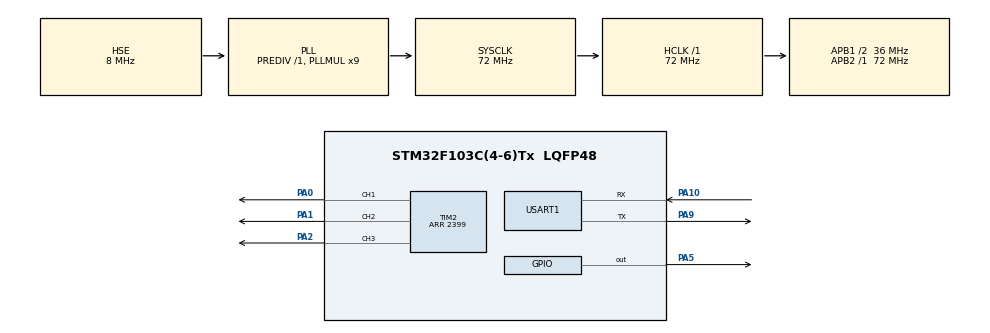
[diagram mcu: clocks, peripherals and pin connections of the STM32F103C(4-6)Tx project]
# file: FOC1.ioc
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Mcu.Family=STM32F1
Mcu.Name=STM32F103C(4-6)Tx
Mcu.Package=LQFP48
NVIC.PriorityGroup=NVIC_PRIORITYGROUP_4
PA0-WKUP.Signal=S_TIM2_CH1_ETR
PA1.Signal=S_TIM2_CH2
PA10.Mode=Asynchronous
PA10.Signal=USART1_RX
PA2.Signal=S_TIM2_CH3
PA5.PinState=GPIO_PIN_SET
PA5.Signal=GPIO_Output
PA9.Mode=Asynchronous
PA9.Signal=USART1_TX
PD0-OSC_IN.Mode=HSE-External-Oscillator
PD0-OSC_IN.Signal=RCC_OSC_IN
PD1-OSC_OUT.Mode=HSE-External-Oscillator
PD1-OSC_OUT.Signal=RCC_OSC_OUT
ProjectManager.HeapSize=0x200
ProjectManager.StackSize=0x400
ProjectManager.TargetToolchain=MDK-ARM V5
RCC.AHBFreq_Value=72000000
RCC.APB1CLKDivider=RCC_HCLK_DIV2
RCC.APB1Freq_Value=36000000
RCC.APB1TimFreq_Value=72000000
RCC.APB2Freq_Value=72000000
RCC.APB2TimFreq_Value=72000000
RCC.HCLKFreq_Value=72000000
RCC.PLLMUL=RCC_PLL_MUL9
RCC.PLLSourceVirtual=RCC_PLLSOURCE_HSE
RCC.SYSCLKFreq_VALUE=72000000
RCC.SYSCLKSource=RCC_SYSCLKSOURCE_PLLCLK
RCC.USBFreq_Value=72000000
SH.S_TIM2_CH1_ETR.0=TIM2_CH1,PWM Generation1 CH1
SH.S_TIM2_CH2.0=TIM2_CH2,PWM Generation2 CH2
SH.S_TIM2_CH3.0=TIM2_CH3,PWM Generation3 CH3
TIM2.Channel-PWM\ Generation1\ CH1=TIM_CHANNEL_1
TIM2.Channel-PWM\ Generation2\ CH2=TIM_CHANNEL_2
TIM2.Channel-PWM\ Generation3\ CH3=TIM_CHANNEL_3
TIM2.Period=2399
USART1.VirtualMode=VM_ASYNC
VP_SYS_VS_ND.Mode=No_Debug
board=custom

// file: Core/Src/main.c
/* USER CODE BEGIN Header */
/**
  ******************************************************************************
  * @file           : main.c
  * @brief          : Main program body
  ******************************************************************************
  * @attention
  *
  * Copyright (c) 2023 STMicroelectronics.
  * All rights reserved.
  *
  * This software is licensed under terms that can be found in the LICENSE file
  * in the root directory of this software component.
  * If no LICENSE file comes with this software, it is provided AS-IS.
  *
  ******************************************************************************
  */
/* USER CODE END Header */
#include "main.h"
#include "tim.h"
#include "usart.h"
#include "gpio.h"

/* USER CODE BEGIN Includes */
#include "string.h"
#include <stdio.h>
#include "math.h"
/* USER CODE END Includes */

/* USER CODE BEGIN PD */
#define _constrain(amt, low, high) ((amt) < (low) ? (low) : ((amt) > (high) ? (high) : (amt)))
#define PI 3.14
/* USER CODE END PD */

/* USER CODE BEGIN PV */
float voltage_limit = 10;
float voltage_power_supply = 12.6;
float shaft_angle = 0, open_loop_timestamp = 0;
float zero_electric_angle = 0, Ualpha, Ubeta = 0, Ua = 0, Ub = 0, Uc = 0, dc_a = 0, dc_b = 0, dc_c = 0;
/* USER CODE END PV */

void SystemClock_Config(void);

/* USER CODE BEGIN 0 */
float _electricalAngle(float shaft_angle, int pole_pairs)
{
  return (shaft_angle * pole_pairs);
} // 电角度求解

// 归一化角度到 [0,2PI]
float _normalizeAngle(float angle)
{
  float a = fmod(angle, 2 * PI); // 取余运算可以用于归一化，列出特殊值例子算便知
  return a >= 0 ? a : (a + 2 * PI);
  // 三目运算符。格式：condition ? expr1 : expr2
  // 其中，condition 是要求值的条件表达式，如果条件成立，则返回 expr1 的值，否则返回 expr2 的值。可以将三目运算符视为 if-else 语句的简化形式。
  // fmod 函数的余数的符号与除数相同。因此，当 angle 的值为负数时，余数的符号将与 _2PI 的符号相反。也就是说，如果 angle 的值小于 0 且 _2PI 的值为正数，则 fmod(angle, _2PI) 的余数将为负数。
  // 例如，当 angle 的值为 -PI/2，_2PI 的值为 2PI 时，fmod(angle, _2PI) 将返回一个负数。在这种情况下，可以通过将负数的余数加上 _2PI 来将角度归一化到 [0, 2PI] 的范围内，以确保角度的值始终为正数。
}

void setPWM(float Ua, float Ub, float Uc)
{
  // 限制上限
  Ua = _constrain(Ua, 0.f, voltage_limit);
  Ub = _constrain(Ub, 0.f, voltage_limit);
  Uc = _constrain(Uc, 0.f, voltage_limit);
  // 计算占空比
  // 限制占空比在0~1
  dc_a = _constrain(Ua / voltage_power_supply, 0.f, 1.f);
  dc_b = _constrain(Ub / voltage_power_supply, 0.f, 1.f);
  dc_c = _constrain(Uc / voltage_power_supply, 0.f, 1.f);

  __HAL_TIM_SetCompare(&htim2, TIM_CHANNEL_1, dc_a * 1280);
  __HAL_TIM_SetCompare(&htim2, TIM_CHANNEL_1, dc_b * 1280);
  __HAL_TIM_SetCompare(&htim2, TIM_CHANNEL_1, dc_c * 1280);
}

void setPhaseVoltage(float Uq, float Ud, float angle_el)
{
  angle_el = _normalizeAngle(angle_el + zero_electric_angle);
  // 帕克逆变换
  Ualpha = -Uq * sin(angle_el);
  Ubeta = Uq * cos(angle_el);

  // 克拉克逆变换
  Ua = Ualpha + voltage_power_supply / 2;
  Ub = (sqrt(3) * Ubeta - Ualpha) / 2 + voltage_power_supply / 2;
  Uc = (-Ualpha - sqrt(3) * Ubeta) / 2 + voltage_power_supply / 2;
  setPWM(Ua, Ub, Uc);
}

// 开环速度函数
float velocityOpenloop(float target_velocity)
{
  unsigned long now_us = HAL_GetTick(); // 获取从开启芯片以来的微秒数，它的精度是 4 微秒。 micros() 返回的是一个无符号长整型（unsigned long）的值

  // 计算当前每个Loop的运行时间间隔
  float Ts = (now_us - open_loop_timestamp) * 1e-6f;

  // 由于 micros() 函数返回的时间戳会在大约 70 分钟之后重新开始计数，在由70分钟跳变到0时，TS会出现异常，因此需要进行修正。如果时间间隔小于等于零或大于 0.5 秒，则将其设置为一个较小的默认值，即 1e-3f
  if (Ts <= 0 || Ts > 0.5f)
    Ts = 1e-3f;

  // 通过乘以时间间隔和目标速度来计算需要转动的机械角度，存储在 shaft_angle 变量中。在此之前，还需要对轴角度进行归一化，以确保其值在 0 到 2π 之间。
  shaft_angle = _normalizeAngle(shaft_angle + target_velocity * Ts);
  // 以目标速度为 10 rad/s 为例，如果时间间隔是 1 秒，则在每个循环中需要增加 10 * 1 = 10 弧度的角度变化量，才能使电机转动到目标速度。
  // 如果时间间隔是 0.1 秒，那么在每个循环中需要增加的角度变化量就是 10 * 0.1 = 1 弧度，才能实现相同的目标速度。因此，电机轴的转动角度取决于目标速度和时间间隔的乘积。

  // 使用早前设置的voltage_power_supply的1/3作为Uq值，这个值会直接影响输出力矩
  // 最大只能设置为Uq = voltage_power_supply/2，否则ua,ub,uc会超出供电电压限幅
  float Uq = voltage_power_supply / 3;

  setPhaseVoltage(Uq, 0, _electricalAngle(shaft_angle, 7));

  open_loop_timestamp = now_us; // 用于计算下一个时间间隔

  return Uq;
}
/* USER CODE END 0 */

int main(void)
{

  /* MCU Configuration--------------------------------------------------------*/

  /* Reset of all peripherals, Initializes the Flash interface and the Systick. */
  HAL_Init();

  /* Configure the system clock */
  SystemClock_Config();

  /* Initialize all configured peripherals */
  MX_GPIO_Init();
  MX_TIM2_Init();
  MX_USART1_UART_Init();
  /* USER CODE BEGIN 2 */
  HAL_TIM_PWM_Start(&htim2, TIM_CHANNEL_1); // 开启三个PWM通道输出
  HAL_TIM_PWM_Start(&htim2, TIM_CHANNEL_2);
  HAL_TIM_PWM_Start(&htim2, TIM_CHANNEL_3);
  HAL_UART_Transmit(&huart1, "helloWorld\r\n", strlen("helloWorld\r\n"), 0xFFFF);
  HAL_Delay(1000);
  /* USER CODE END 2 */

  /* Infinite loop */
  while (1)
  {

    /* USER CODE BEGIN 3 */
		velocityOpenloop(5);
  }
  /* USER CODE END 3 */
}

void SystemClock_Config(void)
{
  RCC_OscInitTypeDef RCC_OscInitStruct = {0};
  RCC_ClkInitTypeDef RCC_ClkInitStruct = {0};

  /** Initializes the RCC Oscillators according to the specified parameters
  * in the RCC_OscInitTypeDef structure.
  */
  RCC_OscInitStruct.OscillatorType = RCC_OSCILLATORTYPE_HSE;
  RCC_OscInitStruct.HSEState = RCC_HSE_ON;
  RCC_OscInitStruct.HSEPredivValue = RCC_HSE_PREDIV_DIV1;
  RCC_OscInitStruct.HSIState = RCC_HSI_ON;
  RCC_OscInitStruct.PLL.PLLState = RCC_PLL_ON;
  RCC_OscInitStruct.PLL.PLLSource = RCC_PLLSOURCE_HSE;
  RCC_OscInitStruct.PLL.PLLMUL = RCC_PLL_MUL9;
  if (HAL_RCC_OscConfig(&RCC_OscInitStruct) != HAL_OK)
  {
    Error_Handler();
  }

  /** Initializes the CPU, AHB and APB buses clocks
  */
  RCC_ClkInitStruct.ClockType = RCC_CLOCKTYPE_HCLK|RCC_CLOCKTYPE_SYSCLK
                              |RCC_CLOCKTYPE_PCLK1|RCC_CLOCKTYPE_PCLK2;
  RCC_ClkInitStruct.SYSCLKSource = RCC_SYSCLKSOURCE_PLLCLK;
  RCC_ClkInitStruct.AHBCLKDivider = RCC_SYSCLK_DIV1;
  RCC_ClkInitStruct.APB1CLKDivider = RCC_HCLK_DIV2;
  RCC_ClkInitStruct.APB2CLKDivider = RCC_HCLK_DIV1;

  if (HAL_RCC_ClockConfig(&RCC_ClkInitStruct, FLASH_LATENCY_2) != HAL_OK)
  {
    Error_Handler();
  }
}

void Error_Handler(void)
{
  __disable_irq();
  while (1)
  {
  }
}
